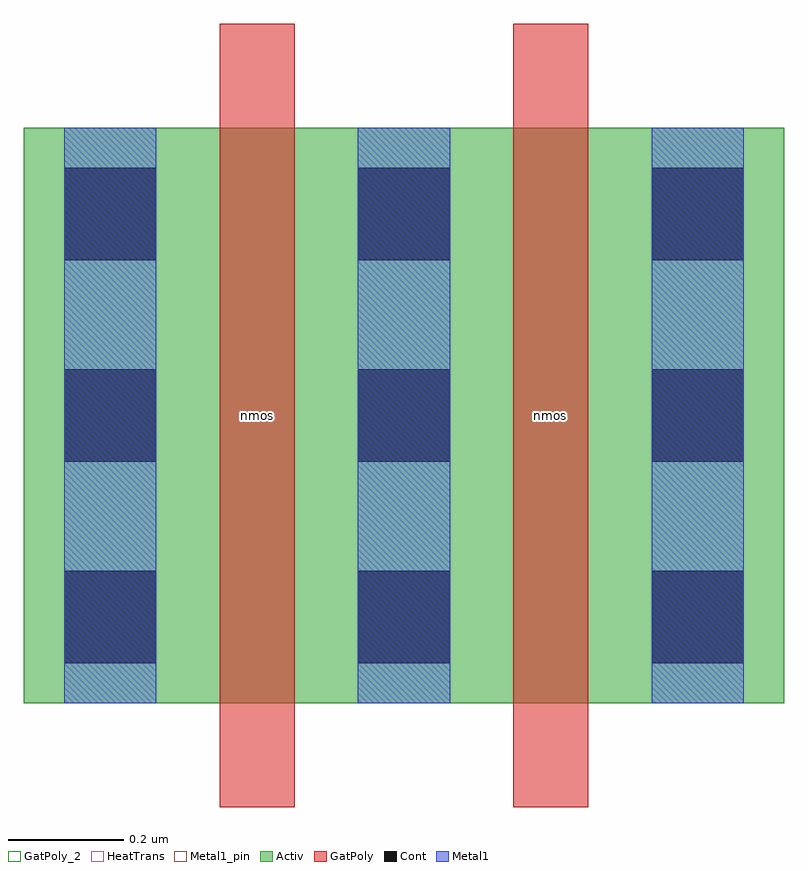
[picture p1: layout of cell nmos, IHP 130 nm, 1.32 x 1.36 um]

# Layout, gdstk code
import gdstk
lib = gdstk.Library(unit=1e-6, precision=1e-09)
def R(c, l, rs):  # rectangles x0, y0, x1, y1
    for r in rs: c.add(gdstk.rectangle(r[:2], r[2:], *l))
def A(c, l, x, y, w, h, nx, ny, dx, dy):  # array of equal rectangles
    R(c, l, [(x+i*dx, y+j*dy, x+i*dx+w, y+j*dy+h) for i in range(nx) for j in range(ny)])
Activ = (1, 0)
GatPoly = (5, 0)
GatPoly_2 = (5, 2)
Cont = (6, 0)
Metal1 = (8, 0)
Metal1_pin = (8, 2)
HeatTrans = (51, 0)

nmos = lib.new_cell('nmos')
A(nmos, Activ, 0, 0, 0.3, 0.3, 3, 1, 0.51, 0)
R(nmos, Activ, [(0,0,1.32,1)])
R(nmos, GatPoly, [(0.34,-0.18,0.47,1.18), (0.85,-0.18,0.98,1.18)])
R(nmos, GatPoly_2, [(0.34,-0.18,0.47,1.18)])
A(nmos, Cont, 0.07, 0.07, 0.16, 0.16, 3, 3, 0.51, 0.35)
A(nmos, Metal1, 0.07, 0, 0.16, 1, 3, 1, 0.51, 0)
R(nmos, Metal1_pin, [(0.07,0,0.23,1), (0.58,0,0.74,1)])
R(nmos, HeatTrans, [(0.34,-0.18,0.47,1.18), (0.85,-0.18,0.98,1.18)])
nmos.add(gdstk.Label('nmos', (0.405,0.5), layer=63, texttype=0))
nmos.add(gdstk.Label('nmos', (0.405,0.5), layer=51, texttype=0))
nmos.add(gdstk.Label('nmos', (0.915,0.5), layer=51, texttype=0))

lib.write_gds('nmos.gds')
